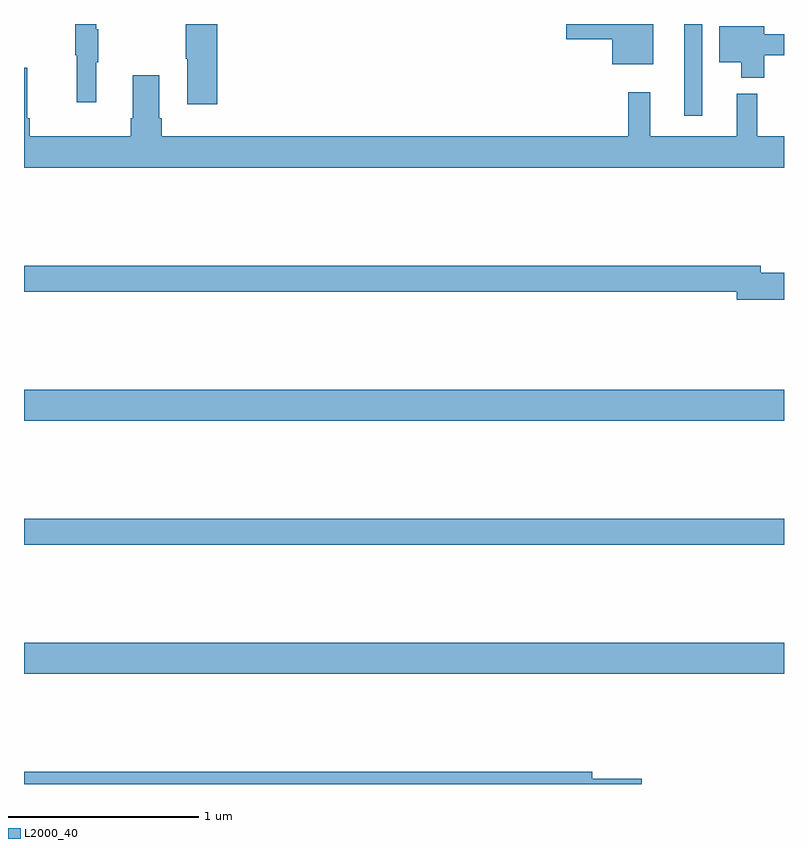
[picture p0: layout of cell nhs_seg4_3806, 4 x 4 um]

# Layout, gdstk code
import gdstk
lib = gdstk.Library(unit=1e-6, precision=1e-09)
def R(c, l, rs):  # rectangles x0, y0, x1, y1
    for r in rs: c.add(gdstk.rectangle(r[:2], r[2:], *l))
def P(c, l, *ps):  # polygons
    for p in ps: c.add(gdstk.Polygon(p, *l))
L2000_40 = (2000, 40)

nhs_seg4_3806 = lib.new_cell('nhs_seg4_3806')
R(nhs_seg4_3806, L2000_40, [(311,803.48,315,803.644), (311,804.16,315,804.296), (311,804.812,315,804.976), (314.474,806.418,314.571,806.9)])
P(nhs_seg4_3806, L2000_40, [(311.381,806.699),(311.392,806.699),(311.392,806.873),(311.381,806.873),(311.381,806.9),(311.271,806.9),(311.271,806.736),(311.278,806.736),(311.278,806.487),(311.381,806.487)],
  [(312.017,806.9),(311.851,806.9),(311.851,806.716),(311.858,806.716),(311.858,806.478),(312.017,806.478)],
  [(314.311,806.9),(313.854,806.9),(313.854,806.819),(314.096,806.819),(314.096,806.687),(314.311,806.687)],
  [(314.896,806.736),(315,806.736),(315,806.847),(314.896,806.847),(314.896,806.887),(314.66,806.887),(314.66,806.699),(314.774,806.699),(314.774,806.618),(314.896,806.618)],
  [(315,806.308),(314.86,806.308),(314.86,806.533),(314.75,806.533),(314.75,806.308),(314.297,806.308),(314.297,806.542),(314.179,806.542),(314.179,806.308),(311.726,806.308),(311.726,806.404),(311.713,806.404),(311.713,806.629),(311.573,806.629),(311.573,806.404),(311.561,806.404),(311.561,806.308),(311.03,806.308),(311.03,806.404),(311.017,806.404),(311.017,806.671),(311,806.671),(311,806.144),(315,806.144)],
  [(315,805.592),(314.878,805.592),(314.878,805.628),(311,805.628),(311,805.492),(314.75,805.492),(314.75,805.45),(315,805.45)],
  [(314.251,802.928),(313.99,802.928),(313.99,802.964),(311,802.964),(311,802.9),(314.251,802.9)])

lib.write_gds('nhs_seg4_3806.gds')
